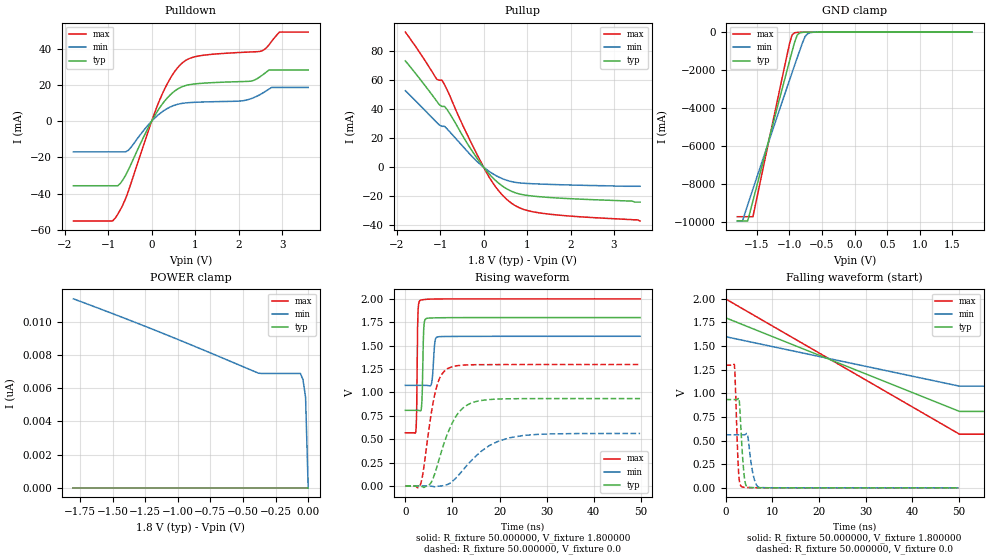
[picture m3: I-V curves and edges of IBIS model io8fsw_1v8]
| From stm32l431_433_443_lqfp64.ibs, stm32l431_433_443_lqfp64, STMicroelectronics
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|   Model io8fsw_1v8
[Model]  io8fsw_1v8
Model_type I/O
Polarity   Non-Inverting
Enable   Active-Low
Vinl =   0.540000V
Vinh =   1.260000V
Vmeas =  0.900000V
Cref =   100.000000nF
Rref =   1.000000k
Vref =   1.800000V
C_comp   2.845500pF   2.787900pF   2.994700pF
[Temperature Range]   25.000000   0.125000k   -40.000000
[Pullup Reference]   1.800000V   1.600000V   2.000000V
[Pulldown Reference]   0.0V   0.0V   0.0V
[POWER Clamp Reference]   1.800000V   1.600000V   2.000000V
[GND Clamp Reference]   0.0V   0.0V   0.0V
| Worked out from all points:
|   slope of the pulldown table from 0 to 0.27 V, typ, clamps not added: 26.4 ohm
|   slope of the pullup table from 0 to 0.27 V, typ, clamps not added: 30.1 ohm
|   GND clamp passes 1 mA (typ) near -0.58 V on its own axis
|   rising waveform, R_fixture 50.000000, V_fixture 1.800000: 20-80 % time 263ps typ, 403ps min, 196ps max; typ from 0.809 V to 1.8 V
|   rising waveform, R_fixture 50.000000, V_fixture 0.0: 20-80 % time 4.19ns typ, 7.31ns min, 2.45ns max; typ from 0 V to 0.934 V
|   falling waveform, R_fixture 50.000000, V_fixture 1.800000: 20-80 % time 30ns typ, 30.1ns min, 30ns max; typ from 1.8 V to 0.809 V
|   falling waveform, R_fixture 50.000000, V_fixture 0.0: 20-80 % time 716ps typ, 1.02ns min, 554ps max; typ from 0.934 V to 0 V
[Pulldown]
|Voltage   I(typ)   I(min)   I(max)
-1.8V     -35.64mA   -16.93mA   -55.1mA
-840mV    -35.64mA   -16.93mA   -53.52mA
-720mV    -34.31mA   -16.93mA   -48.86mA
-540mV    -27.04mA   -16.13mA   -38.89mA
240mV     9.303mA    5.14mA     14.78mA
480mV     15.67mA    8.374mA    25.64mA
720mV     19.18mA    9.883mA    32.46mA
1.08V     20.76mA    10.49mA    35.96mA
2.1V      21.86mA    11.27mA    37.98mA
2.52V     24.96mA    15.02mA    38.63mA
2.94V     28.26mA    18.61mA    49.17mA
3.6V      28.26mA    18.61mA    49.17mA
[Pullup]
|Voltage   I(typ)   I(min)   I(max)
-1.8V     73.16mA    52.62mA    92.99mA
-1.08V    45.51mA    30.88mA    60.56mA
-960mV    41.82mA    28.15mA    59.86mA
-900mV    41.82mA    28.15mA    56.92mA
-840mV    39.69mA    26.36mA    53.29mA
-420mV    18.53mA    12.43mA    25.11mA
60mV      -2.268mA   -1.401mA   -3.341mA
300mV     -9.801mA   -6.008mA   -14.46mA
600mV     -15.96mA   -9.582mA   -23.81mA
900mV     -18.89mA   -10.98mA   -28.81mA
1.32V     -20.37mA   -11.6mA    -31.56mA
3.6V      -24mA      -13.1mA    -37mA
[GND_clamp]
|Voltage   I(typ)   I(min)   I(max)
-1.8V     -9.93A     -9.932A    -9.707A
-1.72V    -9.93A     -9.932A    -9.707A
-1.64V    -9.93A     -9.083A    -9.707A
-1.56V    -8.876A    -8.251A    -9.707A
-1V       -1.54A     -2.541A    -631mA
-960mV    -1.028A    -2.139A    -153.7mA
-920mV    -527mA     -1.74A     -39.12mA
-880mV    -155.6mA   -1.344A    -18.01mA
-840mV    -45.32mA   -953mA     -12.68mA
-760mV    -8.418mA   -235mA     -7.62mA
-680mV    -3.44mA    -33.01mA   -3.865mA
1.8V      0A         0A         0A
[POWER_clamp]
|Voltage   I(typ)   I(min)   I(max)
-1.8V     0A         11.37nA    0A
-1.14V    0A         9.374nA    0A
-380mV    0A         6.895nA    0A
-60mV     0A         6.881nA    0A
-40mV     0A         6.518nA    0A
-20mV     0A         5.452nA    0A
0V        0A         0A         0A
[Ramp]
| variable   typ   min   max
dV/dt_r  0.56065/4.18858n   0.33689/7.30984n   0.77868/2.44361n
dV/dt_f  0.59471/4.19096n   0.31464/7.38440n   0.85906/2.28958n
R_load = 50.000000
[Rising Waveform]
R_fixture= 50.000000
V_fixture= 1.800000
V_fixture_min= 1.600000
V_fixture_max= 2.000000
|time   V(typ)   V(min)   V(max)
0s        808.7mV    1.076V     568.2mV
2.202ns   808.8mV    1.076V     575.5mV
2.402ns   808.8mV    1.076V     802.1mV
2.703ns   808.5mV    1.076V     1.879V
3.203ns   802.1mV    1.076V     1.986V
3.504ns   892.6mV    1.076V     1.99V
3.904ns   1.682V     1.076V     1.992V
4.505ns   1.791V     1.075V     1.995V
6.807ns   1.798V     1.593V     1.999V
49.85ns   1.8V       1.6V       2V
[Rising Waveform]
R_fixture= 50.000000
V_fixture= 0.0
V_fixture_min= 0.0
V_fixture_max= 0.0
|time   V(typ)   V(min)   V(max)
0s        3.11nV     80.83nV    2.225nV
3.303ns   -1.625mV   -118.5nV   30.93mV
5.205ns   18.99mV    -18.16uV   678.1mV
6.306ns   140.2mV    -9.561mV   991.6mV
7.307ns   308.1mV    -792.6uV   1.155V
8.909ns   553.9mV    15.34mV    1.253V
13.11ns   864.4mV    222.4mV    1.294V
17.82ns   923.3mV    431.2mV    1.297V
22.22ns   932mV      516.1mV    1.298V
49.85ns   934.4mV    561.5mV    1.298V
[Falling Waveform]
R_fixture= 50.000000
V_fixture= 1.800000
V_fixture_min= 1.600000
V_fixture_max= 2.000000
|time   V(typ)   V(min)   V(max)
0s        1.8V       1.6V       2V
50.05ns   809mV      1.076V     568.3mV
100.1ns   808.9mV    1.076V     568.2mV
4.955us   808.7mV    1.076V     568.2mV
[Falling Waveform]
R_fixture= 50.000000
V_fixture= 0.0
V_fixture_min= 0.0
V_fixture_max= 0.0
|time   V(typ)   V(min)   V(max)
0s        934.4mV    561.5mV    1.298V
1.902ns   934.4mV    561.5mV    1.303V
2.803ns   951.1mV    561.5mV    158.7mV
3.003ns   885.6mV    561.5mV    59.13mV
3.504ns   439.5mV    561.3mV    11.77mV
4.004ns   125.4mV    561.3mV    6.128mV
4.404ns   24.59mV    571.2mV    4.736mV
6.106ns   2.237mV    98.89mV    1.258mV
7.207ns   1.619mV    4.959mV    850.1uV
49.85ns   3.11nV     80.83nV    2.225nV
